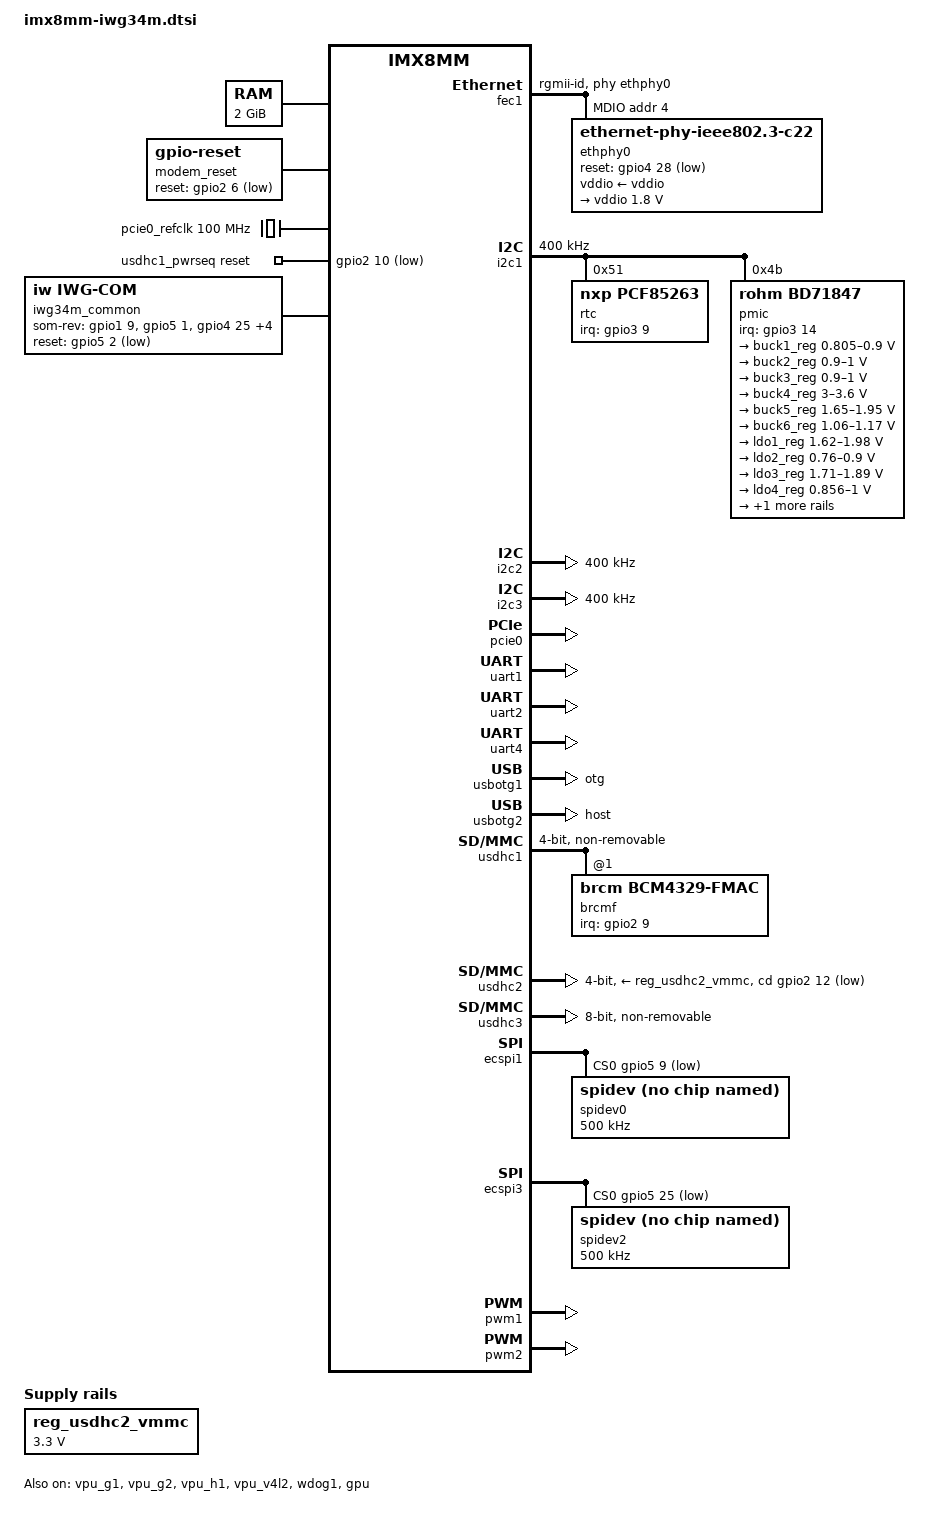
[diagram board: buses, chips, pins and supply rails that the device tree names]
// SPDX-License-Identifier: (GPL-2.0+ OR MIT)
/*
 * Copyright (C) 2022 iWave System Technologies Pvt Ltd.
 *
 * This program is free software; you can redistribute it and/or
 * modify it under the terms of the GNU General Public License
 * as published by the Free Software Foundation; either version 2
 * of the License, or (at your option) any later version.
 *
 * This program is distributed in the hope that it will be useful,
 * but WITHOUT ANY WARRANTY; without even the implied warranty of
 * MERCHANTABILITY or FITNESS FOR A PARTICULAR PURPOSE.  See the
 * GNU General Public License for more details.
 */

/dts-v1/;

#include <dt-bindings/usb/pd.h>
#include "imx8mm.dtsi"

/ {
	chosen {
		stdout-path = &uart4;
	};

	aliases { /* SD/MMC: eMMC/SD slot numbering fix */
		mmc0 = &usdhc3;
		mmc1 = &usdhc2;
		mmc2 = &usdhc1;
		spi0 = &flexspi;
	};

	memory@40000000 { /* RAM: 2GB Memory support */
		device_type = "memory";
		reg = <0x0 0x40000000 0 0x80000000>;
	};

	modem_reset: modem-reset { /* BT: BT reset */
		compatible = "gpio-reset";
		reset-gpios = <&gpio2 6 GPIO_ACTIVE_LOW>;
		reset-delay-us = <2000>;
		reset-post-delay-ms = <40>;
		#reset-cells = <0>;
	};

	pcie0_refclk: pcie0-refclk { /* PCIE: Ref clock */
		compatible = "fixed-clock";
		#clock-cells = <0>;
		clock-frequency = <100000000>;
	};

	usdhc1_pwrseq: usdhc1_pwrseq { /* WIFI: WIFI power sequence */
		compatible = "mmc-pwrseq-simple";
		pinctrl-names = "default";
		pinctrl-0 = <&pinctrl_usdhc1_gpio>;
		reset-gpios = <&gpio2 10 GPIO_ACTIVE_LOW>;
	};

	reg_usdhc2_vmmc: regulator-usdhc2 { /* USDHC2: Carrier Micro SD: Fixed Regulator */
		compatible = "regulator-fixed";
		regulator-name = "VMMC_SD2_3V3";
		regulator-min-microvolt = <3300000>;
		regulator-max-microvolt = <3300000>;
		regulator-always-on;
	};

	iwg34m_common { /* SoC Board Setttings : Board Configuration GPIOs and Carrier reset GPIOs */
		compatible = "iw,iwg-com";
		pinctrl-names = "default";
		pinctrl-0 = <&pinctrl_board_cfg>, <&pinctrl_carrier_reset>;
		som-rev-gpios = <&gpio1 9 0 &gpio5 1 0 &gpio4 25 0 &gpio4 26 0
				&gpio4 27 0 &gpio2 19 0 &gpio2 20 0 >;
		carrier_bom = <0x00>;
		carrier_pcb = <0x00>;
		pcb_rev = <0x00>;
		bom_rev = <0x00>;
                reset-gpio = <&gpio5 2 1>; /* Carrier Peripheral Reset (Mini PCIe/MIPI Display/USB power control/Camera connector) */
		status = "okay";
	};

};

&ddrc {
        operating-points-v2 = <&ddrc_opp_table>;

        ddrc_opp_table: opp-table {
                compatible = "operating-points-v2";

                opp-25M {
                        opp-hz = /bits/ 64 <25000000>;
                };

                opp-100M {
                        opp-hz = /bits/ 64 <100000000>;
                };

                opp-750M {
                        opp-hz = /bits/ 64 <750000000>;
                };
        };
};

&A53_0 {
	cpu-supply = <&buck2_reg>;
};

&A53_1 {
        cpu-supply = <&buck2_reg>;
};

&A53_2 {
        cpu-supply = <&buck2_reg>;
};

&A53_3 {
        cpu-supply = <&buck2_reg>;
};

&fec1 { /* FEC1: AR8031 PHY ENET */
	pinctrl-names = "default";
	pinctrl-0 = <&pinctrl_fec1>;
	phy-mode = "rgmii-id";
	phy-handle = <&ethphy0>;
	fsl,magic-packet;
	status = "okay";

	mdio {
		#address-cells = <1>;
		#size-cells = <0>;

		ethphy0: ethernet-phy@0 {
			compatible = "ethernet-phy-ieee802.3-c22";
                        reg = <4>;
                        reset-gpios = <&gpio4 28 GPIO_ACTIVE_LOW>;
                        qca,disable-smarteee;
                        vddio-supply = <&vddio>;

                        vddio: vddio-regulator {
                                regulator-min-microvolt = <1800000>;
                                regulator-max-microvolt = <1800000>;
                        };
		};
	};
};

&i2c1 { /* I2C: I2C1 Bus */
	clock-frequency = <400000>;
	pinctrl-names = "default";
	pinctrl-0 = <&pinctrl_i2c1>;
	status = "okay";

	rtc: rtc@51 { /* RTC: PCF85263 RTC */
		compatible = "nxp,pcf85263";
		reg = <0x51>;
		pinctrl-names = "default";
		pinctrl-0 = <&pinctrl_rtc>;
		interrupt-parent = <&gpio3>;
		interrupts = <9 IRQ_TYPE_LEVEL_LOW>;
		status = "okay";
	};

	pmic: pmic@4b { /* PMIC: PMIC BD71847MWV */
		compatible = "rohm,bd71847";
		reg = <0x4b>;
		pinctrl-0 = <&pinctrl_pmic>;
		pinctrl-names = "default";
		interrupt-parent = <&gpio3>;
		interrupts = <14 GPIO_ACTIVE_LOW>;
		rohm,reset-snvs-powered;

		#clock-cells = <0>;
		clocks = <&osc_32k 0>;
		clock-output-names = "clk-32k-out";

		regulators {
			buck1_reg: BUCK1 {
				regulator-name = "BUCK1";
				regulator-min-microvolt = <805000>;
				regulator-max-microvolt = <900000>;
				regulator-boot-on;
				regulator-always-on;
				regulator-ramp-delay = <1250>;
				rohm,dvs-run-voltage = <850000>;
				rohm,dvs-idle-voltage = <850000>;
			};

			buck2_reg: BUCK2 {
				regulator-name = "BUCK2";
				regulator-min-microvolt = <900000>;
				regulator-max-microvolt = <1000000>;
				regulator-boot-on;
				regulator-always-on;
				regulator-ramp-delay = <1250>;
				rohm,dvs-run-voltage = <950000>;
				rohm,dvs-idle-voltage = <950000>;
			};

			buck3_reg: BUCK3 {
				// BUCK5 in datasheet
				regulator-name = "BUCK3";
				regulator-min-microvolt = <900000>;
				regulator-max-microvolt = <1000000>;
				regulator-boot-on;
				regulator-always-on;
			};

			buck4_reg: BUCK4 {
				// BUCK6 in datasheet
				regulator-name = "BUCK4";
				regulator-min-microvolt = <3000000>;
				regulator-max-microvolt = <3600000>;
				regulator-boot-on;
				regulator-always-on;
			};

			buck5_reg: BUCK5 {
				// BUCK7 in datasheet
				regulator-name = "BUCK5";
				regulator-min-microvolt = <1650000>;
				regulator-max-microvolt = <1950000>;
				regulator-boot-on;
				regulator-always-on;
			};

			buck6_reg: BUCK6 {
				// BUCK8 in datasheet
				regulator-name = "BUCK6";
				regulator-min-microvolt = <1060000>;
				regulator-max-microvolt = <1170000>;
				regulator-boot-on;
				regulator-always-on;
			};

			ldo1_reg: LDO1 {
				regulator-name = "LDO1";
				regulator-min-microvolt = <1620000>;
				regulator-max-microvolt = <1980000>;
				regulator-boot-on;
				regulator-always-on;
			};

			ldo2_reg: LDO2 {
				regulator-name = "LDO2";
				regulator-min-microvolt = <760000>;
				regulator-max-microvolt = <900000>;
				regulator-boot-on;
				regulator-always-on;
			};

			ldo3_reg: LDO3 {
				regulator-name = "LDO3";
				regulator-min-microvolt = <1710000>;
				regulator-max-microvolt = <1890000>;
				regulator-boot-on;
				regulator-always-on;
			};

			ldo4_reg: LDO4 {
				regulator-name = "LDO4";
				regulator-min-microvolt = <855500>;
				regulator-max-microvolt = <1000000>;
				regulator-boot-on;
				regulator-always-on;
			};

			ldo6_reg: LDO6 {
				regulator-name = "LDO6";
				regulator-min-microvolt = <1140000>;
				regulator-max-microvolt = <1260000>;
				regulator-boot-on;
				regulator-always-on;
			};
		};
	};
};

&i2c2 { /* I2C: I2C2 Bus */
	clock-frequency = <400000>;
	pinctrl-names = "default";
	pinctrl-0 = <&pinctrl_i2c2>;
	status = "okay";
};

&i2c3 { /* I2C: I2C3 Bus */
	clock-frequency = <400000>;
	pinctrl-names = "default";
	pinctrl-0 = <&pinctrl_i2c3>;
	status = "okay";
};

&pcie0{ /* PCIE: PCIe0 */
	pinctrl-names = "default";
	pinctrl-0 = <&pinctrl_pcie0>;
	disable-gpio = <&gpio1 11 GPIO_ACTIVE_LOW>;
	clocks = <&clk IMX8MM_CLK_PCIE1_ROOT>,
		 <&clk IMX8MM_CLK_PCIE1_AUX>,
		 <&clk IMX8MM_CLK_PCIE1_PHY>,
		 <&pcie0_refclk>;
	clock-names = "pcie", "pcie_aux", "pcie_phy", "pcie_bus";
	assigned-clocks = <&clk IMX8MM_CLK_PCIE1_AUX>,
			  <&clk IMX8MM_CLK_PCIE1_PHY>,
			  <&clk IMX8MM_CLK_PCIE1_CTRL>;
	assigned-clock-rates = <10000000>, <100000000>, <250000000>;
	assigned-clock-parents = <&clk IMX8MM_SYS_PLL2_50M>,
				 <&clk IMX8MM_SYS_PLL2_100M>,
				 <&clk IMX8MM_SYS_PLL2_250M>;
	ext_osc = <1>;
	status = "okay";
};

&uart1 { /* UART1: Bluetooth */
	pinctrl-names = "default";
	pinctrl-0 = <&pinctrl_uart1>;
	assigned-clocks = <&clk IMX8MM_CLK_UART1>;
	assigned-clock-parents = <&clk IMX8MM_SYS_PLL1_80M>;
	fsl,uart-has-rtscts;
	resets = <&modem_reset>;
	status = "okay";
};

&uart2 { /* UART2: Data UART */
	pinctrl-names = "default";
	pinctrl-0 = <&pinctrl_uart2>;
	assigned-clocks = <&clk IMX8MM_CLK_UART2>;
	assigned-clock-parents = <&clk IMX8MM_SYS_PLL1_80M>;
	fsl,uart-has-rtscts;
	status = "okay";
};

&uart3 { /* UART3: M4 UART */
	pinctrl-names = "default";
	pinctrl-0 = <&pinctrl_uart3>;
	assigned-clocks = <&clk IMX8MM_CLK_UART3>;
	assigned-clock-parents = <&clk IMX8MM_SYS_PLL1_80M>;
	status = "disabled";
};

&uart4 { /* UART4: Debug UART */
	pinctrl-names = "default";
	pinctrl-0 = <&pinctrl_uart4>;
	status = "okay";
};

&usbotg1 { /* USB1: USB OTG */
	pinctrl-names = "default";
	pinctrl-0 = <&pinctrl_usbotg1>;
	otg-pwr-gpio = <&gpio1 12 GPIO_ACTIVE_LOW>;
	otg-oc-gpio = <&gpio1 13 GPIO_ACTIVE_LOW>;
	dr_mode = "otg";
        hnp-disable;
        srp-disable;
        adp-disable;
	samsung,picophy-pre-emp-curr-control = <3>;
	samsung,picophy-dc-vol-level-adjust = <7>;
	status = "okay";
};

&usbotg2 { /* USB2: USB Host (2 ports via HUB) */
	pinctrl-names = "default";
        pinctrl-0 = <&pinctrl_usbotg2>;
	dr_mode = "host";
	disable-over-current;
	status = "okay";
};

&usdhc1 { /* USDHC1: WiFi */
	#address-cells = <1>;
	#size-cells = <0>;
	pinctrl-names = "default", "state_100mhz", "state_200mhz";
	pinctrl-0 = <&pinctrl_usdhc1>, <&pinctrl_wlan>;
	pinctrl-1 = <&pinctrl_usdhc1_100mhz>, <&pinctrl_wlan>;
	pinctrl-2 = <&pinctrl_usdhc1_200mhz>, <&pinctrl_wlan>;
	bus-width = <4>;
	pm-ignore-notify;
	keep-power-in-suspend;
	non-removable;
	cap-power-off-card;
	mmc-pwrseq = <&usdhc1_pwrseq>;
	status = "okay";

	brcmf: bcrmf@1 {
		reg = <1>;
		compatible = "brcm,bcm4329-fmac";
		interrupt-parent = <&gpio2>;
		interrupts = <9 IRQ_TYPE_LEVEL_HIGH>;
		interrupt-names = "host-wake";
		status = "okay";
	};
};

&usdhc2 { /* USDHC2: Carrier Micro SD */
	pinctrl-names = "default", "state_100mhz", "state_200mhz";
	pinctrl-0 = <&pinctrl_usdhc2>, <&pinctrl_usdhc2_gpio>;
	pinctrl-1 = <&pinctrl_usdhc2_100mhz>, <&pinctrl_usdhc2_gpio>;
	pinctrl-2 = <&pinctrl_usdhc2_200mhz>, <&pinctrl_usdhc2_gpio>;
	no-1-8-v; /* Carrier board "PREVD" supports only Highspeed mode */
	cd-gpios = <&gpio2 12 GPIO_ACTIVE_LOW>;
	bus-width = <4>;
	vmmc-supply = <&reg_usdhc2_vmmc>;
	status = "okay";
};

&usdhc3 {  /* USDHC3: EMMC */
	pinctrl-names = "default", "state_100mhz", "state_200mhz";
	pinctrl-0 = <&pinctrl_usdhc3>;
	pinctrl-1 = <&pinctrl_usdhc3_100mhz>;
	pinctrl-2 = <&pinctrl_usdhc3_200mhz>;
	bus-width = <8>;
	non-removable;
	status = "okay";
};

&vpu_g1 {
	status = "okay";
};

&vpu_g2 {
	status = "okay";
};

&vpu_h1 {
	status = "okay";
};

&vpu_v4l2 {
	status = "okay";
};

&wdog1 { /* Watchdog */
	pinctrl-names = "default";
	pinctrl-0 = <&pinctrl_wdog>;
	fsl,ext-reset-output;
	status = "okay";
};

&gpu { /* GPU */
	status = "okay";
};

&flexspi { /* QSPI: IS25WP016D SPI: Not mounted on SOM */
	pinctrl-names = "default";
	pinctrl-0 = <&pinctrl_flexspi>;
	status = "disabled";

	flash0:  is25wp016d@0 { /* IS25WP016D-JNLE SPI Flash */
		reg = <0>;
		#address-cells = <1>;
		#size-cells = <1>;
		compatible = "jedec,spi-nor";
		spi-max-frequency = <80000000>;
		spi-tx-bus-width = <4>;
		spi-rx-bus-width = <4>;
	};
};

&ecspi1 { /* ECSPI1: Accessed through Expansion, not mounted by default */
	#address-cells = <1>;
	#size-cells = <0>;
	fsl,spi-num-chipselects = <1>;
	pinctrl-names = "default";
	pinctrl-0 = <&pinctrl_ecspi1 &pinctrl_ecspi1_cs>;
	cs-gpios = <&gpio5 9 GPIO_ACTIVE_LOW>;
	status = "okay";
        spidev0: spi@0 {
                reg = <0>;
                compatible = "rohm,dh2228fv";
                spi-max-frequency = <500000>;
        };
};

&ecspi2 { /* ECSPI2: Accessed through Expansion, not mounted by default*/
	#address-cells = <1>;
	#size-cells = <0>;
	fsl,spi-num-chipselects = <1>;
	pinctrl-names = "default";
	pinctrl-0 = <&pinctrl_ecspi2 &pinctrl_ecspi2_cs>;
	cs-gpios = <&gpio5 13 GPIO_ACTIVE_LOW>;
	status = "disabled";
	
        spidev1: spi@0 {
                reg = <0>;
                compatible = "rohm,dh2228fv";
                spi-max-frequency = <500000>;
        };
};

&ecspi3 { /* ECSPI3: Accessed through Expansion, not mounted by default */
	#address-cells = <1>;
	#size-cells = <0>;
	fsl,spi-num-chipselects = <1>;
	pinctrl-names = "default";
	pinctrl-0 = <&pinctrl_ecspi3 &pinctrl_ecspi3_cs>;
	cs-gpios = <&gpio5 25 GPIO_ACTIVE_LOW>;
	status = "okay";

        spidev2: spi@0 {
                reg = <0>;
                compatible = "rohm,dh2228fv";
                spi-max-frequency = <500000>;
        };
};

&pwm1 { /* PWM: PWM1 Control */
	pinctrl-names = "default";
	pinctrl-0 = <&pinctrl_pwm1>;
        status = "okay";
};

&pwm2 { /* PWM: PWM2 Control */
	pinctrl-names = "default";
	pinctrl-0 = <&pinctrl_pwm2>;
        status = "okay";
};

&iomuxc {

	imx8mm-iwg34m {

		pinctrl_fec1: fec1grp { /* Ethernet: IOMUX Pin Configuration */
			fsl,pins = <
				MX8MM_IOMUXC_ENET_MDC_ENET1_MDC			0x3
				MX8MM_IOMUXC_ENET_MDIO_ENET1_MDIO		0x3
				MX8MM_IOMUXC_ENET_TD3_ENET1_RGMII_TD3		0x1f
				MX8MM_IOMUXC_ENET_TD2_ENET1_RGMII_TD2		0x1f
				MX8MM_IOMUXC_ENET_TD1_ENET1_RGMII_TD1		0x1f
				MX8MM_IOMUXC_ENET_TD0_ENET1_RGMII_TD0		0x1f
				MX8MM_IOMUXC_ENET_RD3_ENET1_RGMII_RD3		0x91
				MX8MM_IOMUXC_ENET_RD2_ENET1_RGMII_RD2		0x91
				MX8MM_IOMUXC_ENET_RD1_ENET1_RGMII_RD1		0x91
				MX8MM_IOMUXC_ENET_RD0_ENET1_RGMII_RD0		0x91
				MX8MM_IOMUXC_ENET_TXC_ENET1_RGMII_TXC		0x1f
				MX8MM_IOMUXC_ENET_RXC_ENET1_RGMII_RXC		0x91
				MX8MM_IOMUXC_ENET_RX_CTL_ENET1_RGMII_RX_CTL	0x91
				MX8MM_IOMUXC_ENET_TX_CTL_ENET1_RGMII_TX_CTL	0x1f
				MX8MM_IOMUXC_SAI3_RXFS_GPIO4_IO28		0x19 /* Ethernet Reset GPIO */
			>;
		};

		pinctrl_i2c1: i2c1grp { /* I2C1: IOMUX Pin Configuration */
			fsl,pins = <
				MX8MM_IOMUXC_I2C1_SCL_I2C1_SCL			0x400001c3
				MX8MM_IOMUXC_I2C1_SDA_I2C1_SDA			0x400001c3
			>;
		};

		pinctrl_i2c2: i2c2grp { /* I2C2: IOMUX Pin Configuration */
                        fsl,pins = <
                                MX8MM_IOMUXC_I2C2_SCL_I2C2_SCL                  0x400001c3
                                MX8MM_IOMUXC_I2C2_SDA_I2C2_SDA                  0x400001c3
                        >;
                };

                pinctrl_i2c3: i2c3grp { /* I2C3: IOMUX Pin Configuration */
                        fsl,pins = <
                                MX8MM_IOMUXC_I2C3_SCL_I2C3_SCL                  0x400001c3
                                MX8MM_IOMUXC_I2C3_SDA_I2C3_SDA                  0x400001c3
                        >;
                };

		pinctrl_pcie0: pcie0grp { /* PCIe0: IOMUX Pin Configuration */
			fsl,pins = <
				MX8MM_IOMUXC_GPIO1_IO10_GPIO1_IO10		0x41 /* Wake GPIO */
				MX8MM_IOMUXC_GPIO1_IO11_GPIO1_IO11		0x41 /* Disable GPIO */
			>;
		};

		pinctrl_pmic: pmicirq { /* PMIC: IOMUX Pin Configuration */
			fsl,pins = <
				MX8MM_IOMUXC_NAND_DQS_GPIO3_IO14		0x41 /* PMIC Interrupt GPIO */
			>;
		};

		pinctrl_rtc: rtcirq { /* RTC: IOMUX Pin Configuration */
			fsl,pins = <
				MX8MM_IOMUXC_NAND_DATA03_GPIO3_IO9		0x41 /* RTC Interrupt GPIO */
			>;
		};

		pinctrl_uart1: uart1grp { /* UART1: Bluetooth: IOMUX Pin Configuration */
			fsl,pins = <
				MX8MM_IOMUXC_SAI2_RXFS_UART1_DCE_TX		0x140
				MX8MM_IOMUXC_SAI2_RXC_UART1_DCE_RX		0x140
				MX8MM_IOMUXC_SAI2_TXFS_UART1_DCE_CTS_B		0x140
				MX8MM_IOMUXC_SAI2_RXD0_UART1_DCE_RTS_B		0x140
				MX8MM_IOMUXC_SD1_DATA4_GPIO2_IO6		0x19 /* Bluetooth Reset GPIO */
				MX8MM_IOMUXC_SD1_DATA5_GPIO2_IO7		0x19 /* Bluetooth Device Wake GPIO */
				MX8MM_IOMUXC_SD1_DATA6_GPIO2_IO8		0x19 /* Bluetooth Host Wake GPIO */
			>;
		};

		pinctrl_uart2: uart2grp { /* UART2: DATA UART: IOMUX Pin Configuration */
                        fsl,pins = <
                                MX8MM_IOMUXC_SAI3_TXC_UART2_DCE_TX              0x140
                                MX8MM_IOMUXC_SAI3_TXFS_UART2_DCE_RX             0x140
                                MX8MM_IOMUXC_SAI3_RXC_UART2_DCE_CTS_B           0x140
                                MX8MM_IOMUXC_SAI3_RXD_UART2_DCE_RTS_B           0x140   
                        >;
                };

		pinctrl_uart3: uart3grp { /* UART4: M4 UART */
			fsl,pins = <
				MX8MM_IOMUXC_UART3_TXD_UART3_DCE_TX		0x140
				MX8MM_IOMUXC_UART3_RXD_UART3_DCE_RX		0x140
			>;
		};

		pinctrl_uart4: uart4grp { /* UART4: Debug UART: IOMUX Pin Configuration */
			fsl,pins = <
				MX8MM_IOMUXC_UART4_RXD_UART4_DCE_RX		0x140
				MX8MM_IOMUXC_UART4_TXD_UART4_DCE_TX		0x140
			>;
		};

		pinctrl_usdhc1: usdhc1grp { /* USDHC1: SOM Micro SD/WiFi: IOMUX Pin Configuration */
			fsl,pins = <
				MX8MM_IOMUXC_SD1_CLK_USDHC1_CLK         	0x190
				MX8MM_IOMUXC_SD1_CMD_USDHC1_CMD         	0x1d0
				MX8MM_IOMUXC_SD1_DATA0_USDHC1_DATA0     	0x1d0
				MX8MM_IOMUXC_SD1_DATA1_USDHC1_DATA1     	0x1d0
				MX8MM_IOMUXC_SD1_DATA2_USDHC1_DATA2     	0x1d0
				MX8MM_IOMUXC_SD1_DATA3_USDHC1_DATA3     	0x1d0
			>;
		};

		pinctrl_usdhc1_100mhz: usdhc1grp100mhz {
			fsl,pins = <
				MX8MM_IOMUXC_SD1_CLK_USDHC1_CLK         	0x194
				MX8MM_IOMUXC_SD1_CMD_USDHC1_CMD         	0x1d4
				MX8MM_IOMUXC_SD1_DATA0_USDHC1_DATA0     	0x1d4
				MX8MM_IOMUXC_SD1_DATA1_USDHC1_DATA1     	0x1d4
				MX8MM_IOMUXC_SD1_DATA2_USDHC1_DATA2     	0x1d4
				MX8MM_IOMUXC_SD1_DATA3_USDHC1_DATA3     	0x1d4
			>;
		};

		pinctrl_usdhc1_200mhz: usdhc1grp200mhz {
			fsl,pins = <
				MX8MM_IOMUXC_SD1_CLK_USDHC1_CLK			0x196
				MX8MM_IOMUXC_SD1_CMD_USDHC1_CMD			0x1d6
				MX8MM_IOMUXC_SD1_DATA0_USDHC1_DATA0		0x1d6
				MX8MM_IOMUXC_SD1_DATA1_USDHC1_DATA1		0x1d6
				MX8MM_IOMUXC_SD1_DATA2_USDHC1_DATA2		0x1d6
				MX8MM_IOMUXC_SD1_DATA3_USDHC1_DATA3		0x1d6
			>;
		};
	
		pinctrl_usdhc1_gpio: usdhc1grpgpio { /* USDHC1: WiFi: Reset GPIO IOMUX Pin Configuration */
			fsl,pins = <
				MX8MM_IOMUXC_SD1_RESET_B_GPIO2_IO10		0x41 /* WIFI Reset GPIO */
			>;
		};

		pinctrl_wlan: wlangrp { /* WiFi: IOMUX Pin Configuration */
                        fsl,pins = <
                                MX8MM_IOMUXC_SD1_DATA7_GPIO2_IO9                0x111 /* WIFI Host Wake GPIO */
                        >;
                };

		pinctrl_usdhc2: usdhc2grp { /* USDHC2: Carrier Micro SD: IOMUX Pin Configuration */
			fsl,pins = <
				MX8MM_IOMUXC_SD2_CLK_USDHC2_CLK			0x190
				MX8MM_IOMUXC_SD2_CMD_USDHC2_CMD			0x1d0
				MX8MM_IOMUXC_SD2_DATA0_USDHC2_DATA0		0x1d0
				MX8MM_IOMUXC_SD2_DATA1_USDHC2_DATA1		0x1d0
				MX8MM_IOMUXC_SD2_DATA2_USDHC2_DATA2		0x1d0
				MX8MM_IOMUXC_SD2_DATA3_USDHC2_DATA3		0x1d0
				MX8MM_IOMUXC_GPIO1_IO04_USDHC2_VSELECT  	0x1d0
			>;
		};

		pinctrl_usdhc2_100mhz: usdhc2grp100mhz {
			fsl,pins = <
				MX8MM_IOMUXC_SD2_CLK_USDHC2_CLK			0x194
				MX8MM_IOMUXC_SD2_CMD_USDHC2_CMD			0x1d4
				MX8MM_IOMUXC_SD2_DATA0_USDHC2_DATA0		0x1d4
				MX8MM_IOMUXC_SD2_DATA1_USDHC2_DATA1		0x1d4
				MX8MM_IOMUXC_SD2_DATA2_USDHC2_DATA2		0x1d4
				MX8MM_IOMUXC_SD2_DATA3_USDHC2_DATA3		0x1d4
				MX8MM_IOMUXC_GPIO1_IO04_USDHC2_VSELECT  	0x1d0
			>;
		};

		pinctrl_usdhc2_200mhz: usdhc2grp200mhz {
			fsl,pins = <
				MX8MM_IOMUXC_SD2_CLK_USDHC2_CLK			0x196
				MX8MM_IOMUXC_SD2_CMD_USDHC2_CMD			0x1d6
				MX8MM_IOMUXC_SD2_DATA0_USDHC2_DATA0		0x1d6
				MX8MM_IOMUXC_SD2_DATA1_USDHC2_DATA1		0x1d6
				MX8MM_IOMUXC_SD2_DATA2_USDHC2_DATA2		0x1d6
				MX8MM_IOMUXC_SD2_DATA3_USDHC2_DATA3		0x1d6
				MX8MM_IOMUXC_GPIO1_IO04_USDHC2_VSELECT  	0x1d0
			>;
		};

		pinctrl_usdhc2_gpio: usdhc2grpgpio { /* USDHC2: Carrier Micro SD: Card Detect GPIO IOMUX Pin Configuration */
			fsl,pins = <
				MX8MM_IOMUXC_SD2_CD_B_GPIO2_IO12		0x1c4 /* SD2 Card Detect GPIO */
			>;
		};

		pinctrl_usdhc3: usdhc3grp { /* USDHC3: EMMC: IOMUX Pin Configuration*/
			fsl,pins = <
				MX8MM_IOMUXC_NAND_WE_B_USDHC3_CLK		0x190
				MX8MM_IOMUXC_NAND_WP_B_USDHC3_CMD		0x1d0
				MX8MM_IOMUXC_NAND_DATA04_USDHC3_DATA0		0x1d0
				MX8MM_IOMUXC_NAND_DATA05_USDHC3_DATA1		0x1d0
				MX8MM_IOMUXC_NAND_DATA06_USDHC3_DATA2		0x1d0
				MX8MM_IOMUXC_NAND_DATA07_USDHC3_DATA3		0x1d0
				MX8MM_IOMUXC_NAND_RE_B_USDHC3_DATA4		0x1d0
				MX8MM_IOMUXC_NAND_CE2_B_USDHC3_DATA5		0x1d0
				MX8MM_IOMUXC_NAND_CE3_B_USDHC3_DATA6		0x1d0
				MX8MM_IOMUXC_NAND_CLE_USDHC3_DATA7		0x1d0
				MX8MM_IOMUXC_NAND_READY_B_USDHC3_RESET_B	0x1d0	
				MX8MM_IOMUXC_NAND_CE1_B_USDHC3_STROBE		0x190
			>;
		};

		pinctrl_usdhc3_100mhz: usdhc3grp100mhz {
			fsl,pins = <
				MX8MM_IOMUXC_NAND_WE_B_USDHC3_CLK		0x194
				MX8MM_IOMUXC_NAND_WP_B_USDHC3_CMD		0x1d4
				MX8MM_IOMUXC_NAND_DATA04_USDHC3_DATA0		0x1d4
				MX8MM_IOMUXC_NAND_DATA05_USDHC3_DATA1		0x1d4
				MX8MM_IOMUXC_NAND_DATA06_USDHC3_DATA2		0x1d4
				MX8MM_IOMUXC_NAND_DATA07_USDHC3_DATA3		0x1d4
				MX8MM_IOMUXC_NAND_RE_B_USDHC3_DATA4		0x1d4
				MX8MM_IOMUXC_NAND_CE2_B_USDHC3_DATA5		0x1d4
				MX8MM_IOMUXC_NAND_CE3_B_USDHC3_DATA6		0x1d4
				MX8MM_IOMUXC_NAND_CLE_USDHC3_DATA7		0x1d4
				MX8MM_IOMUXC_NAND_READY_B_USDHC3_RESET_B        0x1d4
				MX8MM_IOMUXC_NAND_CE1_B_USDHC3_STROBE		0x194
			>;
		};

		pinctrl_usdhc3_200mhz: usdhc3grp200mhz {
			fsl,pins = <
				MX8MM_IOMUXC_NAND_WE_B_USDHC3_CLK		0x196
				MX8MM_IOMUXC_NAND_WP_B_USDHC3_CMD		0x1d6
				MX8MM_IOMUXC_NAND_DATA04_USDHC3_DATA0		0x1d6
				MX8MM_IOMUXC_NAND_DATA05_USDHC3_DATA1		0x1d6
				MX8MM_IOMUXC_NAND_DATA06_USDHC3_DATA2		0x1d6
				MX8MM_IOMUXC_NAND_DATA07_USDHC3_DATA3		0x1d6
				MX8MM_IOMUXC_NAND_RE_B_USDHC3_DATA4		0x1d6
				MX8MM_IOMUXC_NAND_CE2_B_USDHC3_DATA5		0x1d6
				MX8MM_IOMUXC_NAND_CE3_B_USDHC3_DATA6		0x1d6
				MX8MM_IOMUXC_NAND_CLE_USDHC3_DATA7		0x1d6
				MX8MM_IOMUXC_NAND_READY_B_USDHC3_RESET_B        0x1d6
				MX8MM_IOMUXC_NAND_CE1_B_USDHC3_STROBE		0x196
			>;
		};

		pinctrl_board_cfg: brd_cfg { /* SoC Board Settings: IOMUX Pin Configuration */
			fsl,pins = <
				MX8MM_IOMUXC_GPIO1_IO09_GPIO1_IO9		0x1d5   
				MX8MM_IOMUXC_SAI3_TXD_GPIO5_IO1			0x1d5
				MX8MM_IOMUXC_SAI2_TXC_GPIO4_IO25		0x1d5
				MX8MM_IOMUXC_SAI2_TXD0_GPIO4_IO26		0x1d5
				MX8MM_IOMUXC_SAI2_MCLK_GPIO4_IO27		0x1d5   
				MX8MM_IOMUXC_SD2_RESET_B_GPIO2_IO19		0x1d5
				MX8MM_IOMUXC_SD2_WP_GPIO2_IO20			0x1d5
			>;
		};

		pinctrl_usbotg2: usb2grp { /* USB2: USB Hub IOMUX Pin Configuration */
                        fsl,pins = <
                                MX8MM_IOMUXC_GPIO1_IO15_GPIO1_IO15		0x41 /*USB2 Over Current GPIO*/
                        >;
                };
		
		pinctrl_carrier_reset: carrier_rst { /* Carrier Reset GPIO: Reset GPIO Configuration */
			fsl,pins = <
				MX8MM_IOMUXC_SAI3_MCLK_GPIO5_IO2                0x16 /*Carrier Reset GPIO*/
			>;
		};

		pinctrl_usbotg1: usb1grp { /* USB1: USB OTG IOMUX Pin COnfiguration */
			fsl,pins = <
				MX8MM_IOMUXC_GPIO1_IO13_GPIO1_IO13      	0x41 /*USB1 Over Current GPIO*/
				MX8MM_IOMUXC_GPIO1_IO12_GPIO1_IO12     		0x41 /*USB1 Power Enable GPIO*/
			>;
		};

		pinctrl_wdog: wdoggrp { /* WATCHDOG: IOMUX Pin Configuration */
			fsl,pins = <
				MX8MM_IOMUXC_GPIO1_IO02_WDOG1_WDOG_B            0x166
			>;
		};

		pinctrl_flexspi: flexspigrp { /* QSPI : IOMUX Pin Configuration */
			fsl,pins = <
				MX8MM_IOMUXC_NAND_ALE_QSPI_A_SCLK               0x1c2
				MX8MM_IOMUXC_NAND_CE0_B_QSPI_A_SS0_B            0x82
				MX8MM_IOMUXC_NAND_DATA00_QSPI_A_DATA0           0x82
				MX8MM_IOMUXC_NAND_DATA01_QSPI_A_DATA1           0x82
				MX8MM_IOMUXC_NAND_DATA02_QSPI_A_DATA2           0x82
				MX8MM_IOMUXC_NAND_DATA03_QSPI_A_DATA3           0x82
			>;
		};

		pinctrl_ecspi1: ecspi1grp { /* ECSPI : ECSPI1 IOMUX Pin Configuration */
			fsl,pins = <
				MX8MM_IOMUXC_ECSPI1_SCLK_ECSPI1_SCLK		0x82 /* SODIMM Edge Pin 80, Expansion J16 Pin 12 */
				MX8MM_IOMUXC_ECSPI1_MOSI_ECSPI1_MOSI		0x82 /* SODIMM Edge Pin 96, Expansion J16 Pin 13 */
				MX8MM_IOMUXC_ECSPI1_MISO_ECSPI1_MISO		0x82 /* SODIMM Edge Pin 94, Expansion J12 Pin 11 */
			>;
		};

		pinctrl_ecspi1_cs: ecspi1cs { /* ECSPI : ECSPI1 SS IOMUX Pin Configuration */
			fsl,pins = <
				MX8MM_IOMUXC_ECSPI1_SS0_GPIO5_IO9		0x40000 /* SODIMM Edge Pin 97, Expansion J12 Pin 12 */
			>;
		};

		pinctrl_ecspi2: ecspi2grp { /* ECSPI : ECSPI2 IOMUX Pin Configuration */
			fsl,pins = <
				MX8MM_IOMUXC_ECSPI2_SCLK_ECSPI2_SCLK		0x82
				MX8MM_IOMUXC_ECSPI2_MOSI_ECSPI2_MOSI		0x82
				MX8MM_IOMUXC_ECSPI2_MISO_ECSPI2_MISO		0x82
			>;
		};

		pinctrl_ecspi2_cs: ecspi2cs { /* ECSPI : ECSPI2 SS IOMUX Pin Configuration */
			fsl,pins = <
				MX8MM_IOMUXC_ECSPI2_SS0_GPIO5_IO13		0x40000
			>;
		};

		pinctrl_ecspi3: ecspi3grp { /* ECSPI : ECSPI3 IOMUX Pin Configuration */
			fsl,pins = <
				MX8MM_IOMUXC_UART1_RXD_ECSPI3_SCLK		0x82 /* SODIMM Edge Pin 189, Expansion J16 Pin 16 */
				MX8MM_IOMUXC_UART1_TXD_ECSPI3_MOSI		0x82 /* SODIMM Edge Pin 194, Expansion J16 Pin 17 */
				MX8MM_IOMUXC_UART2_RXD_ECSPI3_MISO		0x82 /* SODIMM Edge Pin 196, Expansion J16 Pin 18 */
			>;
		};

		pinctrl_ecspi3_cs: ecspi3cs { /* ECSPI : ECSPI2 SS IOMUX Pin Configuration */
			fsl,pins = <
				MX8MM_IOMUXC_UART2_TXD_GPIO5_IO25		0x40000 /* SODIMM Edge Pin 181, Expansion J16 Pin 15 */
			>;
		};

		pinctrl_pwm1: pwm1grp { /* PWM: PWM1 IOMUX Pin Configuration */
			fsl,pins = <
				MX8MM_IOMUXC_I2C4_SDA_PWM1_OUT                  0x400001c3
			>;
		};

		pinctrl_pwm2: pwm2grp { /* PWM: PWM2 IOMUX Pin Configuration */
			fsl,pins = <
				MX8MM_IOMUXC_I2C4_SCL_PWM2_OUT                  0x400001c3 /* SODIMM Edge Pin 125, Expansion J12 Pin 18 */
			>;
		};
	};
};
